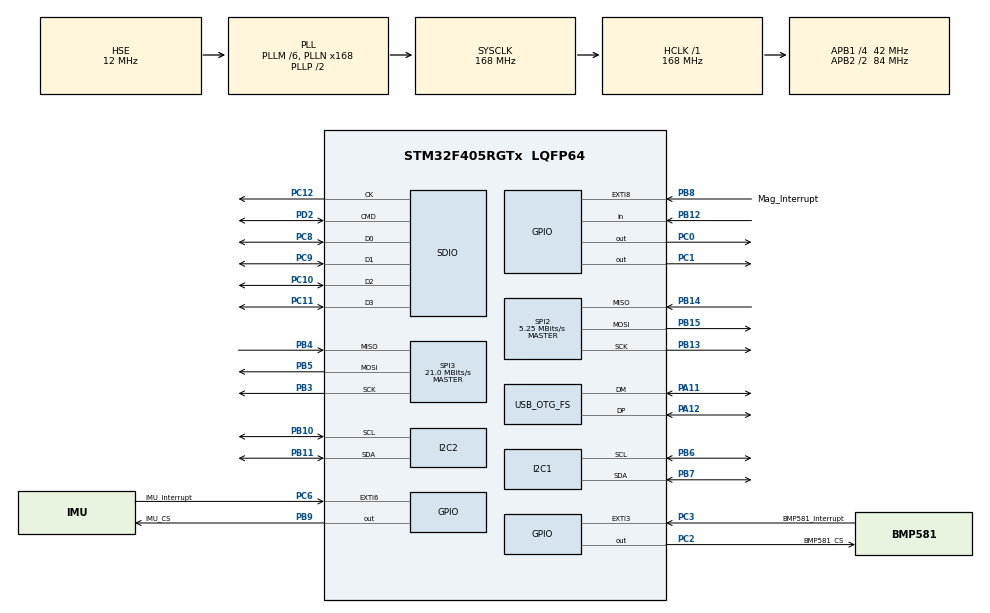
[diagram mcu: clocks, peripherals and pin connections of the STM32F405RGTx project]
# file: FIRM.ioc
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Dma.Request0=SDIO_RX
Dma.Request1=SDIO_TX
Dma.SDIO_RX.0.Direction=DMA_PERIPH_TO_MEMORY
Dma.SDIO_RX.0.FIFOMode=DMA_FIFOMODE_ENABLE
Dma.SDIO_RX.0.FIFOThreshold=DMA_FIFO_THRESHOLD_FULL
Dma.SDIO_RX.0.Instance=DMA2_Stream3
Dma.SDIO_RX.0.MemBurst=DMA_MBURST_INC4
Dma.SDIO_RX.0.MemDataAlignment=DMA_MDATAALIGN_WORD
Dma.SDIO_RX.0.MemInc=DMA_MINC_ENABLE
Dma.SDIO_RX.0.Mode=DMA_PFCTRL
Dma.SDIO_RX.0.PeriphBurst=DMA_PBURST_INC4
Dma.SDIO_RX.0.PeriphDataAlignment=DMA_PDATAALIGN_WORD
Dma.SDIO_RX.0.PeriphInc=DMA_PINC_DISABLE
Dma.SDIO_RX.0.Priority=DMA_PRIORITY_LOW
Dma.SDIO_TX.1.Direction=DMA_MEMORY_TO_PERIPH
Dma.SDIO_TX.1.FIFOMode=DMA_FIFOMODE_ENABLE
Dma.SDIO_TX.1.FIFOThreshold=DMA_FIFO_THRESHOLD_FULL
Dma.SDIO_TX.1.Instance=DMA2_Stream6
Dma.SDIO_TX.1.MemBurst=DMA_MBURST_INC4
Dma.SDIO_TX.1.MemDataAlignment=DMA_MDATAALIGN_WORD
Dma.SDIO_TX.1.MemInc=DMA_MINC_ENABLE
Dma.SDIO_TX.1.Mode=DMA_PFCTRL
Dma.SDIO_TX.1.PeriphBurst=DMA_PBURST_INC4
Dma.SDIO_TX.1.PeriphDataAlignment=DMA_PDATAALIGN_WORD
Dma.SDIO_TX.1.PeriphInc=DMA_PINC_DISABLE
Dma.SDIO_TX.1.Priority=DMA_PRIORITY_LOW
FATFS.BSP.number=1
FATFS.USE_DMA_CODE_SD=1
FATFS0.BSP.STBoard=false
FATFS0.BSP.api=Unknown
FATFS0.BSP.instance=PB12
FATFS0.BSP.ip=GPIO
FATFS0.BSP.mode=Input
FATFS0.BSP.name=Detect_SDIO
FATFS0.BSP.solution=PB12
Mcu.Family=STM32F4
Mcu.Name=STM32F405RGTx
Mcu.Package=LQFP64
NVIC.DMA2_Stream3_IRQn=true\:0\:0\:false\:false\:true\:false\:true\:true
NVIC.DMA2_Stream6_IRQn=true\:0\:0\:false\:false\:true\:false\:true\:true
NVIC.EXTI3_IRQn=true\:0\:0\:false\:false\:true\:true\:true\:true
NVIC.EXTI9_5_IRQn=true\:0\:0\:false\:false\:true\:true\:true\:true
NVIC.OTG_FS_IRQn=true\:0\:0\:false\:false\:true\:false\:true\:true
NVIC.PriorityGroup=NVIC_PRIORITYGROUP_4
NVIC.SDIO_IRQn=true\:0\:0\:false\:false\:true\:true\:true\:true
PA11.Mode=Device_Only
PA11.Signal=USB_OTG_FS_DM
PA12.Mode=Device_Only
PA12.Signal=USB_OTG_FS_DP
PA13.Mode=Serial_Wire
PA13.Signal=SYS_JTMS-SWDIO
PA14.Mode=Serial_Wire
PA14.Signal=SYS_JTCK-SWCLK
PB10.Mode=I2C
PB10.Signal=I2C2_SCL
PB11.Mode=I2C
PB11.Signal=I2C2_SDA
PB12.Signal=GPIO_Input
PB13.GPIO_PuPd=GPIO_PULLDOWN
PB13.Mode=Full_Duplex_Master
PB13.Signal=SPI2_SCK
PB14.GPIO_PuPd=GPIO_NOPULL
PB14.Mode=Full_Duplex_Master
PB14.Signal=SPI2_MISO
PB15.GPIO_PuPd=GPIO_PULLDOWN
PB15.Mode=Full_Duplex_Master
PB15.Signal=SPI2_MOSI
PB3.Mode=Full_Duplex_Master
PB3.Signal=SPI3_SCK
PB4.Mode=Full_Duplex_Master
PB4.Signal=SPI3_MISO
PB5.Mode=Full_Duplex_Master
PB5.Signal=SPI3_MOSI
PB6.GPIO_Mode=GPIO_MODE_AF_OD
PB6.GPIO_Pu=GPIO_PULLUP
PB6.GPIO_Speed=GPIO_SPEED_FREQ_VERY_HIGH
PB6.Mode=I2C
PB6.Signal=I2C1_SCL
PB7.GPIO_Mode=GPIO_MODE_AF_OD
PB7.GPIO_Pu=GPIO_PULLUP
PB7.GPIO_Speed=GPIO_SPEED_FREQ_VERY_HIGH
PB7.Mode=I2C
PB7.Signal=I2C1_SDA
PB8.GPIO_Label=Mag_Interrupt
PB8.GPIO_ModeDefaultEXTI=GPIO_MODE_IT_RISING
PB8.Signal=GPXTI8
PB9.GPIO_Label=IMU_CS
PB9.Signal=GPIO_Output
PC0.Signal=GPIO_Output
PC1.Signal=GPIO_Output
PC10.GPIO_PuPd=GPIO_PULLUP
PC10.Mode=SD_4_bits_Wide_bus
PC10.Signal=SDIO_D2
PC11.Mode=SD_4_bits_Wide_bus
PC11.Signal=SDIO_D3
PC12.Mode=SD_4_bits_Wide_bus
PC12.Signal=SDIO_CK
PC2.GPIO_Label=BMP581_CS
PC2.Signal=GPIO_Output
PC3.GPIO_Label=BMP581_Interrupt
PC3.GPIO_ModeDefaultEXTI=GPIO_MODE_IT_FALLING
PC3.GPIO_PuPd=GPIO_NOPULL
PC3.Signal=GPXTI3
PC6.GPIO_Label=IMU_Interrupt
PC6.GPIO_ModeDefaultEXTI=GPIO_MODE_IT_FALLING
PC6.Signal=GPXTI6
PC8.GPIO_PuPd=GPIO_PULLUP
PC8.Mode=SD_4_bits_Wide_bus
PC8.Signal=SDIO_D0
PC9.GPIO_PuPd=GPIO_PULLUP
PC9.Mode=SD_4_bits_Wide_bus
PC9.Signal=SDIO_D1
PD2.GPIO_PuPd=GPIO_PULLUP
PD2.Mode=SD_4_bits_Wide_bus
PD2.Signal=SDIO_CMD
PH0-OSC_IN.Mode=HSE-External-Oscillator
PH0-OSC_IN.Signal=RCC_OSC_IN
PH1-OSC_OUT.Mode=HSE-External-Oscillator
PH1-OSC_OUT.Signal=RCC_OSC_OUT
ProjectManager.HeapSize=0x200
ProjectManager.StackSize=0x400
ProjectManager.TargetToolchain=STM32CubeIDE
RCC.48MHZClocksFreq_Value=48000000
RCC.AHBFreq_Value=168000000
RCC.APB1CLKDivider=RCC_HCLK_DIV4
RCC.APB1Freq_Value=42000000
RCC.APB1TimFreq_Value=84000000
RCC.APB2CLKDivider=RCC_HCLK_DIV2
RCC.APB2Freq_Value=84000000
RCC.APB2TimFreq_Value=168000000
RCC.CortexFreq_Value=168000000
RCC.HCLKFreq_Value=168000000
RCC.HSE_VALUE=12000000
RCC.HSI_VALUE=16000000
RCC.LSE_VALUE=32768
RCC.PLLM=6
RCC.PLLN=168
RCC.PLLQ=7
RCC.SYSCLKFreq_VALUE=168000000
RCC.SYSCLKSource=RCC_SYSCLKSOURCE_PLLCLK
RCC.VCOOutputFreq_Value=336000000
SPI2.BaudRatePrescaler=SPI_BAUDRATEPRESCALER_8
SPI2.CLKPolarity=SPI_POLARITY_LOW
SPI2.CalculateBaudRate=5.25 MBits/s
SPI2.Direction=SPI_DIRECTION_2LINES
SPI2.Mode=SPI_MODE_MASTER
SPI2.VirtualType=VM_MASTER
SPI3.CalculateBaudRate=21.0 MBits/s
SPI3.Direction=SPI_DIRECTION_2LINES
SPI3.Mode=SPI_MODE_MASTER
SPI3.VirtualType=VM_MASTER
USB_DEVICE.CLASS_NAME_FS=CDC
USB_DEVICE.VirtualMode-CDC_FS=Cdc
USB_DEVICE.VirtualModeFS=Cdc_FS
USB_OTG_FS.VirtualMode=Device_Only
VP_FATFS_VS_SDIO.Mode=SDIO
VP_USB_DEVICE_VS_USB_DEVICE_CDC_FS.Mode=CDC_FS
board=custom

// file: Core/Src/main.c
/* USER CODE BEGIN Header */
/**
 ******************************************************************************
 * @file           : main.c
 * @brief          : Main program body
 ******************************************************************************
 * @attention
 *
 * Copyright (c) 2025 STMicroelectronics.
 * All rights reserved.
 *
 * This software is licensed under terms that can be found in the LICENSE file
 * in the root directory of this software component.
 * If no LICENSE file comes with this software, it is provided AS-IS.
 *
 ******************************************************************************
 */

#include "bmp581_spi.h"
#include "icm45686.h"
#include "logger.h"
#include "mmc5983ma.h"
#include "packets.h"
/* USER CODE END Header */
#include "fatfs.h"
#include "main.h"
#include "usb_device.h"

/* USER CODE BEGIN Includes */
#include <stdbool.h>
#include <stdio.h>
#include <string.h>

/* USER CODE END Includes */

I2C_HandleTypeDef hi2c1;
I2C_HandleTypeDef hi2c2;

SD_HandleTypeDef hsd;
DMA_HandleTypeDef hdma_sdio_rx;
DMA_HandleTypeDef hdma_sdio_tx;

SPI_HandleTypeDef hspi2;
SPI_HandleTypeDef hspi3;

/* USER CODE BEGIN PV */
FIL file_obj;

/* USER CODE END PV */

void SystemClock_Config(void);
static void MX_GPIO_Init(void);
static void MX_DMA_Init(void);
static void MX_I2C1_Init(void);
static void MX_I2C2_Init(void);
static void MX_SDIO_SD_Init(void);
static void MX_SPI2_Init(void);
static void MX_SPI3_Init(void);

/* USER CODE BEGIN 0 */
bool bmp_ready = false;
bool imu_ready = false;
bool mag_ready = false;
/* USER CODE END 0 */

int main(void) {

    /* MCU Configuration--------------------------------------------------------*/

    /* Reset of all peripherals, Initializes the Flash interface and the Systick. */
    HAL_Init();

    /* Configure the system clock */
    SystemClock_Config();

    /* Initialize all configured peripherals */
    MX_GPIO_Init();
    MX_DMA_Init();
    MX_I2C1_Init();
    MX_I2C2_Init();
    MX_SDIO_SD_Init();
    MX_FATFS_Init();
    MX_SPI2_Init();
    MX_SPI3_Init();
    MX_USB_DEVICE_Init();
    /* USER CODE BEGIN 2 */

    // Setup the SD card
    FRESULT res = logger_init();
    if (res) {
        serialPrintStr("Failed to initialized the logger (SD card)");
        Error_Handler();
    }

    // drive chip select pins high
    // Note: We can't have these in the bmp581/imu init functions, because those somehow mess up
    // with the initialization.
    HAL_GPIO_WritePin(GPIOC, GPIO_PIN_2, GPIO_PIN_SET); // bmp581 pin
    HAL_GPIO_WritePin(GPIOB, GPIO_PIN_9, GPIO_PIN_SET); // imu pin
    HAL_Delay(500); // purely for debug purposes, allows time to connect to USB serial terminal

    if (imu_init(&hspi2, GPIOB, GPIO_PIN_9)) {
        Error_Handler();
    }
    if (bmp_init(&hspi2, GPIOC, GPIO_PIN_2)) {
        Error_Handler();
    }
    if (mag_init(&hi2c1)) {
        Error_Handler();
    }

    // incrementing value for magnetometer calibration
    uint8_t mag_flip = 0;

    // Toggle LED:
    HAL_GPIO_TogglePin(GPIOC, GPIO_PIN_1);

    /* USER CODE END 2 */

    /* Infinite loop */
    /* USER CODE BEGIN WHILE */
    while (1) {
        if (bmp_ready) {
            logger_ensure_capacity(sizeof(BMPPacket_t) + TYPE_TIMESTAMP_SIZE);
            BMPPacket_t* bmp_packet =
                (BMPPacket_t*)&current_buffer[current_offset + TYPE_TIMESTAMP_SIZE];
            if (bmp_read(&hspi2, GPIOC, GPIO_PIN_2, bmp_packet) == 0) {
                // only reset flag if the new data was collected
                bmp_ready = false;
                logger_log_type_timestamp('B');
                current_offset += sizeof(BMPPacket_t);
            }
        }
        if (imu_ready) {
            logger_ensure_capacity(sizeof(IMUPacket_t) + TYPE_TIMESTAMP_SIZE);
            IMUPacket_t* imu_packet =
                (IMUPacket_t*)&current_buffer[current_offset + TYPE_TIMESTAMP_SIZE];
            if (imu_read(&hspi2, GPIOB, GPIO_PIN_9, imu_packet) == 0) {
                // only reset flag if the new data was collected
                imu_ready = false;
                logger_log_type_timestamp('I');
                current_offset += sizeof(IMUPacket_t);
            }
        }
        if (mag_ready) {
            logger_ensure_capacity(sizeof(MMCPacket_t) + TYPE_TIMESTAMP_SIZE);
            MMCPacket_t* mmc_packet =
                (MMCPacket_t*)&current_buffer[current_offset + TYPE_TIMESTAMP_SIZE];
            if (mag_read(&hi2c1, mmc_packet, &mag_flip) == 0) {
                // only reset flag if the new data was collected
                mag_ready = false;
                logger_log_type_timestamp('M');
                current_offset += sizeof(MMCPacket_t);
            }
        }

        /* USER CODE END WHILE */

    }
}

void SystemClock_Config(void) {
    RCC_OscInitTypeDef RCC_OscInitStruct = {0};
    RCC_ClkInitTypeDef RCC_ClkInitStruct = {0};

    /** Configure the main internal regulator output voltage
     */
    __HAL_RCC_PWR_CLK_ENABLE();
    __HAL_PWR_VOLTAGESCALING_CONFIG(PWR_REGULATOR_VOLTAGE_SCALE1);

    /** Initializes the RCC Oscillators according to the specified parameters
     * in the RCC_OscInitTypeDef structure.
     */
    RCC_OscInitStruct.OscillatorType = RCC_OSCILLATORTYPE_HSE;
    RCC_OscInitStruct.HSEState = RCC_HSE_ON;
    RCC_OscInitStruct.PLL.PLLState = RCC_PLL_ON;
    RCC_OscInitStruct.PLL.PLLSource = RCC_PLLSOURCE_HSE;
    RCC_OscInitStruct.PLL.PLLM = 6;
    RCC_OscInitStruct.PLL.PLLN = 168;
    RCC_OscInitStruct.PLL.PLLP = RCC_PLLP_DIV2;
    RCC_OscInitStruct.PLL.PLLQ = 7;
    if (HAL_RCC_OscConfig(&RCC_OscInitStruct) != HAL_OK) {
        Error_Handler();
    }

    /** Initializes the CPU, AHB and APB buses clocks
     */
    RCC_ClkInitStruct.ClockType =
        RCC_CLOCKTYPE_HCLK | RCC_CLOCKTYPE_SYSCLK | RCC_CLOCKTYPE_PCLK1 | RCC_CLOCKTYPE_PCLK2;
    RCC_ClkInitStruct.SYSCLKSource = RCC_SYSCLKSOURCE_PLLCLK;
    RCC_ClkInitStruct.AHBCLKDivider = RCC_SYSCLK_DIV1;
    RCC_ClkInitStruct.APB1CLKDivider = RCC_HCLK_DIV4;
    RCC_ClkInitStruct.APB2CLKDivider = RCC_HCLK_DIV2;

    if (HAL_RCC_ClockConfig(&RCC_ClkInitStruct, FLASH_LATENCY_5) != HAL_OK) {
        Error_Handler();
    }
}

static void MX_I2C1_Init(void) {

    hi2c1.Instance = I2C1;
    hi2c1.Init.ClockSpeed = 400000;
    hi2c1.Init.DutyCycle = I2C_DUTYCYCLE_2;
    hi2c1.Init.OwnAddress1 = 0;
    hi2c1.Init.AddressingMode = I2C_ADDRESSINGMODE_7BIT;
    hi2c1.Init.DualAddressMode = I2C_DUALADDRESS_DISABLE;
    hi2c1.Init.OwnAddress2 = 0;
    hi2c1.Init.GeneralCallMode = I2C_GENERALCALL_DISABLE;
    hi2c1.Init.NoStretchMode = I2C_NOSTRETCH_DISABLE;
    if (HAL_I2C_Init(&hi2c1) != HAL_OK) {
        Error_Handler();
    }
}

static void MX_I2C2_Init(void) {

    hi2c2.Instance = I2C2;
    hi2c2.Init.ClockSpeed = 100000;
    hi2c2.Init.DutyCycle = I2C_DUTYCYCLE_2;
    hi2c2.Init.OwnAddress1 = 0;
    hi2c2.Init.AddressingMode = I2C_ADDRESSINGMODE_7BIT;
    hi2c2.Init.DualAddressMode = I2C_DUALADDRESS_DISABLE;
    hi2c2.Init.OwnAddress2 = 0;
    hi2c2.Init.GeneralCallMode = I2C_GENERALCALL_DISABLE;
    hi2c2.Init.NoStretchMode = I2C_NOSTRETCH_DISABLE;
    if (HAL_I2C_Init(&hi2c2) != HAL_OK) {
        Error_Handler();
    }
}

static void MX_SDIO_SD_Init(void) {

    hsd.Instance = SDIO;
    hsd.Init.ClockEdge = SDIO_CLOCK_EDGE_RISING;
    hsd.Init.ClockBypass = SDIO_CLOCK_BYPASS_DISABLE;
    hsd.Init.ClockPowerSave = SDIO_CLOCK_POWER_SAVE_DISABLE;
    hsd.Init.BusWide = SDIO_BUS_WIDE_1B;
    hsd.Init.HardwareFlowControl = SDIO_HARDWARE_FLOW_CONTROL_DISABLE;
    hsd.Init.ClockDiv = 0;
}

static void MX_SPI2_Init(void) {

    /* SPI2 parameter configuration*/
    hspi2.Instance = SPI2;
    hspi2.Init.Mode = SPI_MODE_MASTER;
    hspi2.Init.Direction = SPI_DIRECTION_2LINES;
    hspi2.Init.DataSize = SPI_DATASIZE_8BIT;
    hspi2.Init.CLKPolarity = SPI_POLARITY_LOW;
    hspi2.Init.CLKPhase = SPI_PHASE_1EDGE;
    hspi2.Init.NSS = SPI_NSS_SOFT;
    hspi2.Init.BaudRatePrescaler = SPI_BAUDRATEPRESCALER_8;
    hspi2.Init.FirstBit = SPI_FIRSTBIT_MSB;
    hspi2.Init.TIMode = SPI_TIMODE_DISABLE;
    hspi2.Init.CRCCalculation = SPI_CRCCALCULATION_DISABLE;
    hspi2.Init.CRCPolynomial = 10;
    if (HAL_SPI_Init(&hspi2) != HAL_OK) {
        Error_Handler();
    }
}

static void MX_SPI3_Init(void) {

    /* SPI3 parameter configuration*/
    hspi3.Instance = SPI3;
    hspi3.Init.Mode = SPI_MODE_MASTER;
    hspi3.Init.Direction = SPI_DIRECTION_2LINES;
    hspi3.Init.DataSize = SPI_DATASIZE_8BIT;
    hspi3.Init.CLKPolarity = SPI_POLARITY_LOW;
    hspi3.Init.CLKPhase = SPI_PHASE_1EDGE;
    hspi3.Init.NSS = SPI_NSS_SOFT;
    hspi3.Init.BaudRatePrescaler = SPI_BAUDRATEPRESCALER_2;
    hspi3.Init.FirstBit = SPI_FIRSTBIT_MSB;
    hspi3.Init.TIMode = SPI_TIMODE_DISABLE;
    hspi3.Init.CRCCalculation = SPI_CRCCALCULATION_DISABLE;
    hspi3.Init.CRCPolynomial = 10;
    if (HAL_SPI_Init(&hspi3) != HAL_OK) {
        Error_Handler();
    }
}

static void MX_DMA_Init(void) {

    /* DMA controller clock enable */
    __HAL_RCC_DMA2_CLK_ENABLE();

    /* DMA interrupt init */
    /* DMA2_Stream3_IRQn interrupt configuration */
    HAL_NVIC_SetPriority(DMA2_Stream3_IRQn, 0, 0);
    HAL_NVIC_EnableIRQ(DMA2_Stream3_IRQn);
    /* DMA2_Stream6_IRQn interrupt configuration */
    HAL_NVIC_SetPriority(DMA2_Stream6_IRQn, 0, 0);
    HAL_NVIC_EnableIRQ(DMA2_Stream6_IRQn);
}

static void MX_GPIO_Init(void) {
    GPIO_InitTypeDef GPIO_InitStruct = {0};

    /* GPIO Ports Clock Enable */
    __HAL_RCC_GPIOH_CLK_ENABLE();
    __HAL_RCC_GPIOC_CLK_ENABLE();
    __HAL_RCC_GPIOB_CLK_ENABLE();
    __HAL_RCC_GPIOA_CLK_ENABLE();
    __HAL_RCC_GPIOD_CLK_ENABLE();

    /*Configure GPIO pin Output Level */
    HAL_GPIO_WritePin(GPIOC, GPIO_PIN_0 | GPIO_PIN_1 | BMP581_CS_Pin, GPIO_PIN_RESET);

    /*Configure GPIO pin Output Level */
    HAL_GPIO_WritePin(IMU_CS_GPIO_Port, IMU_CS_Pin, GPIO_PIN_RESET);

    /*Configure GPIO pins : PC0 PC1 BMP581_CS_Pin */
    GPIO_InitStruct.Pin = GPIO_PIN_0 | GPIO_PIN_1 | BMP581_CS_Pin;
    GPIO_InitStruct.Mode = GPIO_MODE_OUTPUT_PP;
    GPIO_InitStruct.Pull = GPIO_NOPULL;
    GPIO_InitStruct.Speed = GPIO_SPEED_FREQ_LOW;
    HAL_GPIO_Init(GPIOC, &GPIO_InitStruct);

    /*Configure GPIO pins : BMP581_Interrupt_Pin IMU_Interrupt_Pin */
    GPIO_InitStruct.Pin = BMP581_Interrupt_Pin | IMU_Interrupt_Pin;
    GPIO_InitStruct.Mode = GPIO_MODE_IT_FALLING;
    GPIO_InitStruct.Pull = GPIO_NOPULL;
    HAL_GPIO_Init(GPIOC, &GPIO_InitStruct);

    /*Configure GPIO pin : PB12 */
    GPIO_InitStruct.Pin = GPIO_PIN_12;
    GPIO_InitStruct.Mode = GPIO_MODE_INPUT;
    GPIO_InitStruct.Pull = GPIO_NOPULL;
    HAL_GPIO_Init(GPIOB, &GPIO_InitStruct);

    /*Configure GPIO pin : Mag_Interrupt_Pin */
    GPIO_InitStruct.Pin = Mag_Interrupt_Pin;
    GPIO_InitStruct.Mode = GPIO_MODE_IT_RISING;
    GPIO_InitStruct.Pull = GPIO_NOPULL;
    HAL_GPIO_Init(Mag_Interrupt_GPIO_Port, &GPIO_InitStruct);

    /*Configure GPIO pin : IMU_CS_Pin */
    GPIO_InitStruct.Pin = IMU_CS_Pin;
    GPIO_InitStruct.Mode = GPIO_MODE_OUTPUT_PP;
    GPIO_InitStruct.Pull = GPIO_NOPULL;
    GPIO_InitStruct.Speed = GPIO_SPEED_FREQ_LOW;
    HAL_GPIO_Init(IMU_CS_GPIO_Port, &GPIO_InitStruct);

    /* EXTI interrupt init*/
    HAL_NVIC_SetPriority(EXTI3_IRQn, 0, 0);
    HAL_NVIC_EnableIRQ(EXTI3_IRQn);

    HAL_NVIC_SetPriority(EXTI9_5_IRQn, 0, 0);
    HAL_NVIC_EnableIRQ(EXTI9_5_IRQn);

}

/* USER CODE BEGIN 4 */

/**
 * @brief ISR for interrupt pins
 * @note all ISR signals use this function, must check which pin before setting data ready flags
 * @param GPIO_Pin the EXTI pin that triggered the interrupt signal
 * @retval None
 */
void HAL_GPIO_EXTI_Callback(uint16_t GPIO_Pin) {
    if (GPIO_Pin == BMP581_Interrupt_Pin) {
        bmp_ready = true;
    }
    if (GPIO_Pin == IMU_Interrupt_Pin) {
        imu_ready = true;
    }
    if (GPIO_Pin == Mag_Interrupt_Pin) {
        mag_ready = true;
    }
}
/* USER CODE END 4 */

void Error_Handler(void) {
    __disable_irq();
    while (1) {
    }
}
